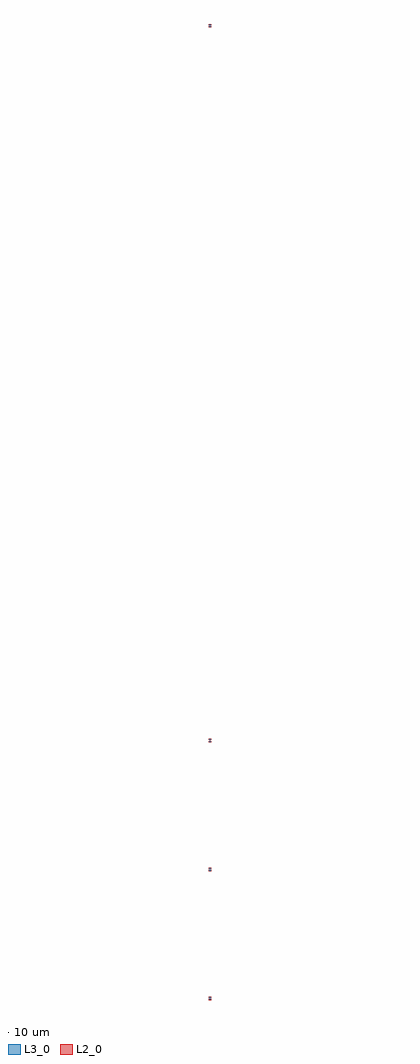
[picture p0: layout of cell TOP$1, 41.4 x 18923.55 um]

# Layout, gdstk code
import gdstk
lib = gdstk.Library(unit=1e-6, precision=1e-09)
def P(c, l, *ps):  # polygons
    for p in ps: c.add(gdstk.Polygon(p, *l))
L2_0 = (2, 0)
L3_0 = (3, 0)

q8gap = lib.new_cell('Q8GAP')
P(q8gap, L2_0, [(779.3,2253.3),(779.3,2274),(799.07,2284),(799.57,2284),(799.57,2286),(799.77,2286),(799.77,2284),(780,2274),(780,2254),(820,2254),(820,2274),(800.23,2284),(800.23,2286),(797.3,2286),(797.3,2286.15),(796.8,2286.15),(779.3,2296.15),(779.3,2316.15),(780,2316.15),(780,2296.15),(797.5,2286.15),(802.5,2286.15),(820,2296.15),(820,2316.15),(779.3,2316.15),(779.3,2316.85),(820.7,2316.85),(820.7,2296.15),(803.2,2286.15),(802.7,2286.15),(802.7,2286),(800.43,2286),(800.43,2284),(800.93,2284),(820.7,2274),(820.7,2253.3)],
  [(779.3,4753.3),(779.3,4774),(799.07,4784),(799.57,4784),(799.57,4786),(799.77,4786),(799.77,4784),(780,4774),(780,4754),(820,4754),(820,4774),(800.23,4784),(800.23,4786),(797.3,4786),(797.3,4786.15),(796.8,4786.15),(779.3,4796.15),(779.3,4816.15),(780,4816.15),(780,4796.15),(797.5,4786.15),(802.5,4786.15),(820,4796.15),(820,4816.15),(779.3,4816.15),(779.3,4816.85),(820.7,4816.85),(820.7,4796.15),(803.2,4786.15),(802.7,4786.15),(802.7,4786),(800.43,4786),(800.43,4784),(800.93,4784),(820.7,4774),(820.7,4753.3)],
  [(779.3,7253.3),(779.3,7274),(799.07,7284),(799.57,7284),(799.57,7286),(799.77,7286),(799.77,7284),(780,7274),(780,7254),(820,7254),(820,7274),(800.23,7284),(800.23,7286),(797.3,7286),(797.3,7286.15),(796.8,7286.15),(779.3,7296.15),(779.3,7316.15),(780,7316.15),(780,7296.15),(797.5,7286.15),(802.5,7286.15),(820,7296.15),(820,7316.15),(779.3,7316.15),(779.3,7316.85),(820.7,7316.85),(820.7,7296.15),(803.2,7286.15),(802.7,7286.15),(802.7,7286),(800.43,7286),(800.43,7284),(800.93,7284),(820.7,7274),(820.7,7253.3)],
  [(779.3,21113.3),(779.3,21134),(799.07,21144),(799.57,21144),(799.57,21146),(799.77,21146),(799.77,21144),(780,21134),(780,21114),(820,21114),(820,21134),(800.23,21144),(800.23,21146),(797.3,21146),(797.3,21146.15),(796.8,21146.15),(779.3,21156.15),(779.3,21176.15),(780,21176.15),(780,21156.15),(797.5,21146.15),(802.5,21146.15),(820,21156.15),(820,21176.15),(779.3,21176.15),(779.3,21176.85),(820.7,21176.85),(820.7,21156.15),(803.2,21146.15),(802.7,21146.15),(802.7,21146),(800.43,21146),(800.43,21144),(800.93,21144),(820.7,21134),(820.7,21113.3)])

q8pin = lib.new_cell('Q8PIN')
P(q8pin, L3_0, [(780,2254),(780,2274),(799.77,2284),(799.77,2286),(800.23,2286),(800.23,2284),(820,2274),(820,2254)],
  [(797.5,2286.15),(780,2296.15),(780,2316.15),(820,2316.15),(820,2296.15),(802.5,2286.15)],
  [(780,4754),(780,4774),(799.77,4784),(799.77,4786),(800.23,4786),(800.23,4784),(820,4774),(820,4754)],
  [(797.5,4786.15),(780,4796.15),(780,4816.15),(820,4816.15),(820,4796.15),(802.5,4786.15)],
  [(780,7254),(780,7274),(799.77,7284),(799.77,7286),(800.23,7286),(800.23,7284),(820,7274),(820,7254)],
  [(797.5,7286.15),(780,7296.15),(780,7316.15),(820,7316.15),(820,7296.15),(802.5,7286.15)],
  [(780,21114),(780,21134),(799.77,21144),(799.77,21146),(800.23,21146),(800.23,21144),(820,21134),(820,21114)],
  [(797.5,21146.15),(780,21156.15),(780,21176.15),(820,21176.15),(820,21156.15),(802.5,21146.15)])

c_q8 = lib.new_cell('Q8')

top_1 = lib.new_cell('TOP$1')
top_1.add(gdstk.Reference(q8gap, (0,0)))
top_1.add(gdstk.Reference(q8pin, (0,0)))
top_1.add(gdstk.Reference(c_q8, (0,0)))

lib.write_gds('TOP_1.gds')
